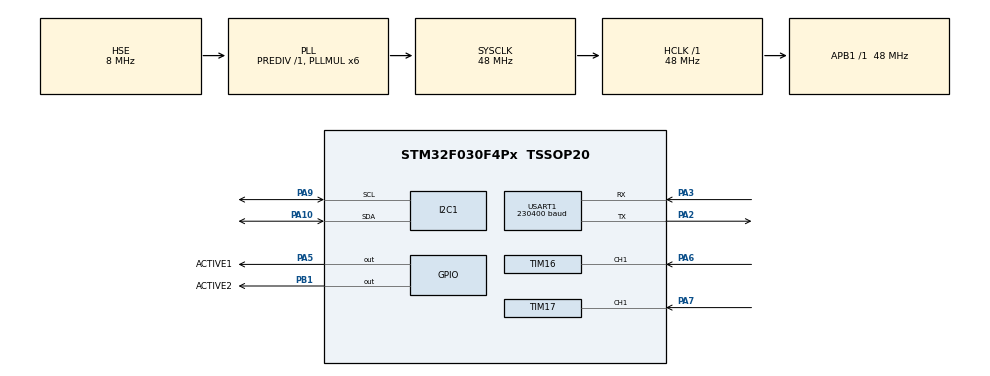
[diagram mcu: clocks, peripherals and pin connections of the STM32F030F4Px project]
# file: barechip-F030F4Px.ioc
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Mcu.Family=STM32F0
Mcu.Name=STM32F030F4Px
Mcu.Package=TSSOP20
NVIC.I2C1_IRQn=true\:0\:0\:false\:false\:true\:true
NVIC.TIM16_IRQn=true\:0\:0\:false\:false\:true\:true
NVIC.TIM17_IRQn=true\:0\:0\:false\:false\:true\:true
NVIC.USART1_IRQn=true\:0\:0\:false\:false\:true\:true
PA10.GPIO_PuPdOD=GPIO_NOPULL
PA10.Mode=I2C
PA10.Signal=I2C1_SDA
PA13.Mode=Serial_Wire
PA13.Signal=SYS_SWDIO
PA14.Mode=Serial_Wire
PA14.Signal=SYS_SWCLK
PA2.Mode=Asynchronous
PA2.Signal=USART1_TX
PA3.Mode=Asynchronous
PA3.Signal=USART1_RX
PA5.GPIO_Label=ACTIVE1
PA5.Signal=GPIO_Output
PA6.Signal=S_TIM16_CH1
PA7.Signal=S_TIM17_CH1
PA9.GPIO_PuPdOD=GPIO_NOPULL
PA9.Mode=I2C
PA9.Signal=I2C1_SCL
PB1.GPIO_Label=ACTIVE2
PB1.Signal=GPIO_Output
PF0-OSC_IN.Mode=HSE-External-Oscillator
PF0-OSC_IN.Signal=RCC_OSC_IN
PF1-OSC_OUT.Mode=HSE-External-Oscillator
PF1-OSC_OUT.Signal=RCC_OSC_OUT
ProjectManager.HeapSize=0x200
ProjectManager.StackSize=0x400
ProjectManager.TargetToolchain=SW4STM32
RCC.AHBFreq_Value=48000000
RCC.APB1Freq_Value=48000000
RCC.APB1TimFreq_Value=48000000
RCC.HCLKFreq_Value=48000000
RCC.PLLMUL=RCC_PLL_MUL6
RCC.PLLSourceVirtual=RCC_PLLSOURCE_HSE
RCC.SYSCLKFreq_VALUE=48000000
RCC.SYSCLKSource=RCC_SYSCLKSOURCE_PLLCLK
SH.S_TIM16_CH1.0=TIM16_CH1,Input_Capture1_from_TI1
SH.S_TIM17_CH1.0=TIM17_CH1,Input_Capture1_from_TI1
TIM16.Channel=TIM_CHANNEL_1
TIM16.ICFilter_CH1=1
TIM16.ICPrescaler=TIM_ICPSC_DIV8
TIM16.Period=65535
TIM17.Channel=TIM_CHANNEL_1
TIM17.ICFilter_CH1=1
TIM17.ICPrescaler=TIM_ICPSC_DIV8
TIM17.Period=65535
USART1.BaudRate=230400
USART1.VirtualMode-Asynchronous=VM_ASYNC
VP_TIM16_VS_ClockSourceINT.Mode=Enable_Timer
VP_TIM17_VS_ClockSourceINT.Mode=Enable_Timer
board=barechip-F030F4Px

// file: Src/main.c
/**
  ******************************************************************************
  * File Name          : main.c
  * Description        : Main program body
  ******************************************************************************
  ** This notice applies to any and all portions of this file
  * that are not between comment pairs USER CODE BEGIN and
  * USER CODE END. Other portions of this file, whether
  * inserted by the user or by software development tools
  * are owned by their respective copyright owners.
  *
  * COPYRIGHT(c) 2017 STMicroelectronics
  *
  * Redistribution and use in source and binary forms, with or without modification,
  * are permitted provided that the following conditions are met:
  *   1. Redistributions of source code must retain the above copyright notice,
  *      this list of conditions and the following disclaimer.
  *   2. Redistributions in binary form must reproduce the above copyright notice,
  *      this list of conditions and the following disclaimer in the documentation
  *      and/or other materials provided with the distribution.
  *   3. Neither the name of STMicroelectronics nor the names of its contributors
  *      may be used to endorse or promote products derived from this software
  *      without specific prior written permission.
  *
  * THIS SOFTWARE IS PROVIDED BY THE COPYRIGHT HOLDERS AND CONTRIBUTORS "AS IS"
  * AND ANY EXPRESS OR IMPLIED WARRANTIES, INCLUDING, BUT NOT LIMITED TO, THE
  * IMPLIED WARRANTIES OF MERCHANTABILITY AND FITNESS FOR A PARTICULAR PURPOSE ARE
  * DISCLAIMED. IN NO EVENT SHALL THE COPYRIGHT HOLDER OR CONTRIBUTORS BE LIABLE
  * FOR ANY DIRECT, INDIRECT, INCIDENTAL, SPECIAL, EXEMPLARY, OR CONSEQUENTIAL
  * DAMAGES (INCLUDING, BUT NOT LIMITED TO, PROCUREMENT OF SUBSTITUTE GOODS OR
  * SERVICES; LOSS OF USE, DATA, OR PROFITS; OR BUSINESS INTERRUPTION) HOWEVER
  * CAUSED AND ON ANY THEORY OF LIABILITY, WHETHER IN CONTRACT, STRICT LIABILITY,
  * OR TORT (INCLUDING NEGLIGENCE OR OTHERWISE) ARISING IN ANY WAY OUT OF THE USE
  * OF THIS SOFTWARE, EVEN IF ADVISED OF THE POSSIBILITY OF SUCH DAMAGE.
  *
  ******************************************************************************
  */
#include "main.h"
#include "stm32f0xx_hal.h"
#include "i2c.h"
#include "tim.h"
#include "usart.h"
#include "gpio.h"

/* USER CODE BEGIN Includes */
#include <string.h>

#include "config.h"
#include <globals.h>
#include <stm32plus/usart.h>
#include <stm32plus/strutil.h>
#include <stm32plus/pcf8574.h>
#include <cardetector_common/detector.h>
#include <cardetector_common/display.h>
#include <cardetector_common/liveconfig.h>
#include <cardetector_common/userinput.h>

#ifndef USE_I2C
#undef USE_LCD
#undef USE_LEDBAR
#undef USE_EEPROM
#endif

/* USER CODE END Includes */

/* USER CODE BEGIN PV */
/* Private variables ---------------------------------------------------------*/
#ifdef USE_I2C
I2cMaster_State *g_i2c;
#ifdef USE_EEPROM
I2cEEPROM_State g_eeprom;
#endif
#endif

uint8_t g_lineBuffer[64];
volatile uint8_t g_lineReceived = 0;

uint32_t g_counter = 0;

const LIVECONFIG g_config_default = { 0xA5, { SHIFT_BELOW, SHIFT_BASE, SHIFT_ABOVE,
		SHIFT_ACTIVE, SHIFT_TIMEOUT }	//below, above, active, timeout
		, SHIFT_SUM		//shift
		, TIMELIMIT		//tlimit
		, DIVIDER		//divider
		, MCCOUNT		//mccntexp
		, 0				//debug
#if defined(USE_LEDBAR)
		, {
			{ 1, 2, 6, 0xe, 0x1e, 0x3e, 0x7e, 0xfe },
			{ 1, 2, 6, 0xe, 0x1e, 0x3e, 0x7e, 0xfe }
		}
#endif
};

LIVECONFIG g_config;

/* USER CODE END PV */

void SystemClock_Config(void);

/* USER CODE BEGIN PFP */
/* Private function prototypes -----------------------------------------------*/
void DisplayResults(uint8_t line);

/* USER CODE END PFP */

int main(void)
{

  /* MCU Configuration----------------------------------------------------------*/

  /* Reset of all peripherals, Initializes the Flash interface and the Systick. */
  HAL_Init();

  /* Configure the system clock */
  SystemClock_Config();

  /* Initialize all configured peripherals */
  MX_GPIO_Init();
  MX_I2C1_Init();
  MX_USART1_UART_Init();
  MX_TIM16_Init();
  MX_TIM17_Init();

  /* USER CODE BEGIN 2 */
  g_config = g_config_default;

#ifdef USE_I2C
	g_i2c = I2cMaster_Init(&hi2c1);
	InitializeDisplay(g_i2c);
	I2cEEPROM_Init(&g_eeprom, g_i2c, EEPROMADDR, 1, 8);
#endif

#ifdef USE_SERIAL
	UsartInit(&huart1);
#endif

#if defined(USE_I2C) && defined(USE_LCD)
	I2cLcd_Clear(&g_lcd);
	I2cLcd_PrintStr(&g_lcd, "Hello");
#endif

#if defined(USE_SERIAL) && defined(USE_EEPROM)

#define TESTSIZE 2048/8

	HAL_StatusTypeDef st;
	uint8_t i2cBuffer[16] = {0,0,0,0,0,0,0,0,0,0,0,0,0,0,0,0};

/*
	for(uint16_t i = 0; i < TESTSIZE; i += sizeof(i2cBuffer)) {
		if(!(i & (sizeof(i2cBuffer)-1))) {
			st = I2cEEPROM_Write(&g_eeprom, i, i2cBuffer, sizeof(i2cBuffer));
		}
	}

	for (uint16_t i = 0; i < TESTSIZE; ++i) {
		if(!(i & (sizeof(i2cBuffer)-1))) 	{
			st = I2cEEPROM_Read(&g_eeprom, i, i2cBuffer, sizeof(i2cBuffer));
			UsartSendStr("\r\n", 1);
			UsartPrintUint(i, 4, 1);
			UsartSendStr(" ", 1);
		}
		UsartPrintByte(i2cBuffer[i&(sizeof(i2cBuffer)-1)], 2, 1);
		UsartSendStr(" ", 1);
	}
	UsartSendStr("\r\n", 1);

	for(uint16_t i = 0; i < TESTSIZE; i += sizeof(i2cBuffer)) {
		if(!(i & (sizeof(i2cBuffer)-1))) {
			for(uint16_t j = 0; j<sizeof(i2cBuffer); ++j)
				i2cBuffer[j] = i+j;
			st = I2cEEPROM_Write(&g_eeprom, i, i2cBuffer, sizeof(i2cBuffer));
		}
	}

	for (uint16_t i = 0; i < TESTSIZE; ++i) {
		if(!(i & (sizeof(i2cBuffer)-1))) 	{
			st = I2cEEPROM_Read(&g_eeprom, i, i2cBuffer, sizeof(i2cBuffer));
			UsartSendStr("\r\n", 1);
			UsartPrintUint(i, 4, 1);
			UsartSendStr(" ", 1);
		}
		UsartPrintByte(i2cBuffer[i&(sizeof(i2cBuffer)-1)], 2, 1);
		UsartSendStr(" ", 1);
	}
	UsartSendStr("\r\n", 1);
*/
	{
		LIVECONFIG config;

		if (I2cEEPROM_Read(&g_eeprom, EESTART, &config, sizeof(config)) == HAL_OK) {
			I2cMaster_WaitCallback(g_i2c);
			if (config.magic == 0xA5)
				g_config = config;
		}
	}

	for (uint16_t i = 0; i < TESTSIZE; ++i) {
		if(!(i & (sizeof(i2cBuffer)-1))) 	{
			st = I2cEEPROM_Read(&g_eeprom, i, i2cBuffer, sizeof(i2cBuffer));
			UsartSendStr("\r\n", 1);
			UsartPrintUint(i, 4, 1);
			UsartSendStr(" ", 1);
		}
		UsartPrintByte(i2cBuffer[i&(sizeof(i2cBuffer)-1)], 2, 1);
		UsartSendStr(" ", 1);
	}
	UsartSendStr("\r\n", 1);

#endif
	HAL_TIM_IC_Start_IT(&htim16, TIM_CHANNEL_1);
	HAL_TIM_IC_Start_IT(&htim17, TIM_CHANNEL_1);

	HAL_UART_Receive_IT(&huart1, g_lineBuffer, sizeof(g_lineBuffer));

  /* USER CODE END 2 */

  /* Infinite loop */
  /* USER CODE BEGIN WHILE */

	while (1) {

		if (g_lineReceived) {
			ProcessInput(&g_config, (char*) g_lineBuffer);
			//DisplayInput(&i2clcd);
			g_lineReceived = 0;
			HAL_UART_Receive_IT(&huart1, g_lineBuffer, sizeof(g_lineBuffer));
		}

		if(g_statuses[0].trigger) {
		  DisplayResults(0);
		  g_statuses[0].trigger = 0;
		}
		if(g_statuses[1].trigger) {
		  DisplayResults(1);
		  g_statuses[1].trigger = 0;
		}

  /* USER CODE END WHILE */

	}

}

/** System Clock Configuration
*/
void SystemClock_Config(void)
{

  RCC_OscInitTypeDef RCC_OscInitStruct;
  RCC_ClkInitTypeDef RCC_ClkInitStruct;
  RCC_PeriphCLKInitTypeDef PeriphClkInit;

    /**Initializes the CPU, AHB and APB busses clocks
    */
  RCC_OscInitStruct.OscillatorType = RCC_OSCILLATORTYPE_HSI|RCC_OSCILLATORTYPE_HSE;
  RCC_OscInitStruct.HSEState = RCC_HSE_ON;
  RCC_OscInitStruct.HSIState = RCC_HSI_ON;
  RCC_OscInitStruct.HSICalibrationValue = 16;
  RCC_OscInitStruct.PLL.PLLState = RCC_PLL_ON;
  RCC_OscInitStruct.PLL.PLLSource = RCC_PLLSOURCE_HSE;
  RCC_OscInitStruct.PLL.PLLMUL = RCC_PLL_MUL6;
  RCC_OscInitStruct.PLL.PREDIV = RCC_PREDIV_DIV1;
  if (HAL_RCC_OscConfig(&RCC_OscInitStruct) != HAL_OK)
  {
    _Error_Handler(__FILE__, __LINE__);
  }

    /**Initializes the CPU, AHB and APB busses clocks
    */
  RCC_ClkInitStruct.ClockType = RCC_CLOCKTYPE_HCLK|RCC_CLOCKTYPE_SYSCLK
                              |RCC_CLOCKTYPE_PCLK1;
  RCC_ClkInitStruct.SYSCLKSource = RCC_SYSCLKSOURCE_PLLCLK;
  RCC_ClkInitStruct.AHBCLKDivider = RCC_SYSCLK_DIV1;
  RCC_ClkInitStruct.APB1CLKDivider = RCC_HCLK_DIV1;

  if (HAL_RCC_ClockConfig(&RCC_ClkInitStruct, FLASH_LATENCY_1) != HAL_OK)
  {
    _Error_Handler(__FILE__, __LINE__);
  }

  PeriphClkInit.PeriphClockSelection = RCC_PERIPHCLK_USART1|RCC_PERIPHCLK_I2C1;
  PeriphClkInit.Usart1ClockSelection = RCC_USART1CLKSOURCE_PCLK1;
  PeriphClkInit.I2c1ClockSelection = RCC_I2C1CLKSOURCE_HSI;
  if (HAL_RCCEx_PeriphCLKConfig(&PeriphClkInit) != HAL_OK)
  {
    _Error_Handler(__FILE__, __LINE__);
  }

    /**Configure the Systick interrupt time
    */
  HAL_SYSTICK_Config(HAL_RCC_GetHCLKFreq()/1000);

    /**Configure the Systick
    */
  HAL_SYSTICK_CLKSourceConfig(SYSTICK_CLKSOURCE_HCLK);

  /* SysTick_IRQn interrupt configuration */
  HAL_NVIC_SetPriority(SysTick_IRQn, 0, 0);
}

/* USER CODE BEGIN 4 */
////////////////////////////////////////////////////////////////////
void HAL_UART_RxCpltCallback(UART_HandleTypeDef *huart) {
	if (huart == &huart1) {
		g_lineBuffer[sizeof(g_lineBuffer) - 1 - huart->RxXferCount] = 0;
		g_lineReceived = 1;
	}
}

////////////////////////////////////////////////////////////////////
void DisplayResults(uint8_t line)
{
	uint8_t			irqEnabled = __get_PRIMASK() == 0;
	__disable_irq();
	DETECTORSTATUS	st = g_statuses[line];
	if(irqEnabled) __enable_irq();

	uint32_t freq = ((uint32_t)((uint64_t)48000000*64 / st.lastMeasured));
	I2cLcd_SetCursor(&g_lcd, 0, line);
	I2cLcd_PrintUint(&g_lcd, freq, 0);
}

/* USER CODE END 4 */

void _Error_Handler(char * file, int line)
{
	while (1) {
	}
}

/************************ (C) COPYRIGHT STMicroelectronics *****END OF FILE****/
